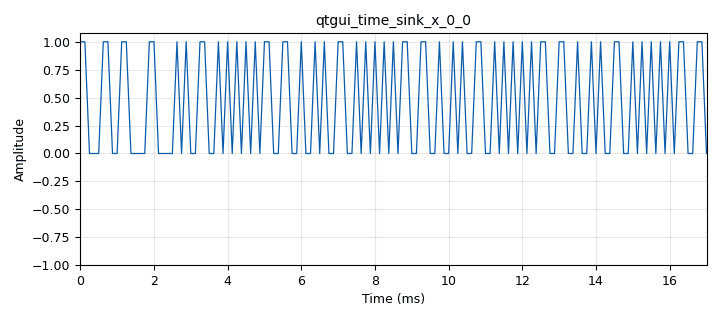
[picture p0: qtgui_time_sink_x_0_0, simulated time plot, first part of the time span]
options:
  parameters:
    author: primeshp
    generate_options: qt_gui
    id: Test_access_code
    output_language: python
    title: Not titled yet
  states: {}

blocks:
- name: samp_rate
  id: variable
  parameters:
    value: '8000'
  states: {}
- name: blocks_char_to_float_0
  id: blocks_char_to_float
  parameters:
    scale: '1'
  states: {}
- name: blocks_char_to_float_0_0
  id: blocks_char_to_float
  parameters:
    scale: '1'
  states: {}
- name: blocks_throttle_0_0
  id: blocks_throttle
  parameters:
    samples_per_second: samp_rate
    type: byte
  states: {}
- name: blocks_vector_source_x_0
  id: blocks_vector_source_x
  parameters:
    repeat: 'True'
    type: byte
    vector: (1,1,0, 0,1,0,1,0,1,0,1,0,1,0,1,1,0,0,1,1,0,0,1,0,0,1,0,1,0,0,1,1,0, 0,1,0,1,0,1,0,1,0,1,0,1,1,0,0,0,0,1,0,1,0,0,1,1,0, 0,1,0,1,0,1,0,1,0,1,0,1,1,0,0,1,1,0,0,1,0,1,0,0,1,1,0, 0,1,0,1,0,1,0,1,0,0,0,1,0,1,0,0,1,1,0, 0,1,0,1,0,1,0,1,0,1,0,1,1,0,0,1,1,0,0,1,0,1,0,1,0,0,1,1,0, 0,1,0,1,0,1,0,1,0,1,0,1,1,0,0,1,1,0,0,0,1,1,0,0,1,1,0,0,0,0,1,1,0,0,0,0,1,0,1,0,0,1,1,0, 0,1,0,1,0,1,0,1,0,1,0,1,1,0,0,1,1,0,0,1,0,0,1,0,1,0,0,1,1,0, 0,1,0,1,0,1,0,1,0,1,0,1,1,0,0,1,1,0,0,1,0,0,1,0,1,0,0,1,1,0, 0,1,0,1,0,1,0,1,0,1,0,1,1,0,0,1,1,0,0,1,0,0,1,0,1,0,0,1,1,0, 0,1,0,1,0,1,0,1,0,1,0,1,1,0,0,1,1,0,0,1,0,0,1,0,1,0,0,0,1,1,0,0,0,1,1,1,1,0,0,0,1,1,1,1,0,0,1,1,0,1,0,1,1,0,0,1,0,0,1,1,1,0,0,0,0,1,1,1,1,0,0,0,1,1,1,1,0,0,1,1,0,1,0,1,0,1,0,1,0,1,0,1,0,1,0,1,1,0,0,0,0,1,1,1,0,0,0,0,1,1,0)
  states: {}
- name: digital_correlate_access_code_tag_xx_0
  id: digital_correlate_access_code_tag_xx
  parameters:
    access_code: '10101010'
    tagname: start
    threshold: '1'
    type: byte
  states: {}
- name: qtgui_time_sink_x_0
  id: qtgui_time_sink_x
  parameters:
    ctrlpanel: 'True'
    size: '1024'
    srate: samp_rate
    tr_mode: qtgui.TRIG_MODE_TAG
    tr_tag: '"start"'
    type: float
  states: {}
- name: qtgui_time_sink_x_0_0
  id: qtgui_time_sink_x
  parameters:
    ctrlpanel: 'True'
    size: '1024'
    srate: samp_rate
    type: float
  states: {}

connections:
- [blocks_char_to_float_0, '0', qtgui_time_sink_x_0_0, '0']
- [blocks_char_to_float_0_0, '0', qtgui_time_sink_x_0, '0']
- [blocks_throttle_0_0, '0', blocks_char_to_float_0_0, '0']
- [blocks_throttle_0_0, '0', digital_correlate_access_code_tag_xx_0, '0']
- [blocks_vector_source_x_0, '0', blocks_throttle_0_0, '0']
- [digital_correlate_access_code_tag_xx_0, '0', blocks_char_to_float_0, '0']

metadata:
  file_format: 1
